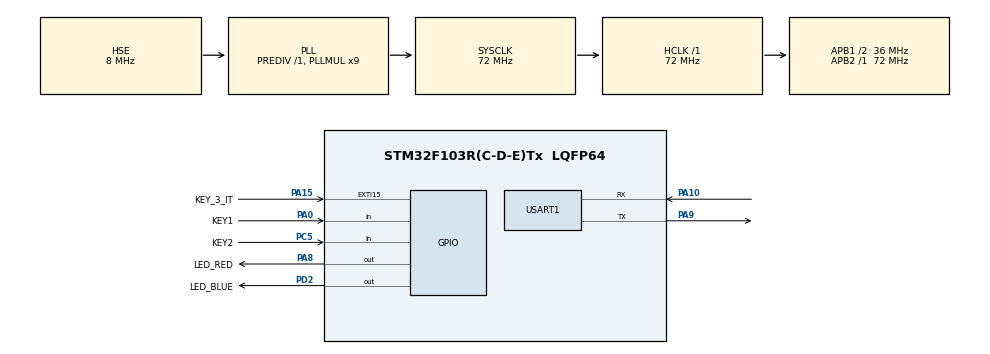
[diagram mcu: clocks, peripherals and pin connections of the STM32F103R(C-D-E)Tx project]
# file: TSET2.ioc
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Mcu.Family=STM32F1
Mcu.Name=STM32F103R(C-D-E)Tx
Mcu.Package=LQFP64
NVIC.EXTI15_10_IRQn=true\:1\:0\:true\:false\:true\:true\:true
NVIC.PriorityGroup=NVIC_PRIORITYGROUP_3
PA0-WKUP.GPIO_Label=KEY1
PA0-WKUP.GPIO_PuPd=GPIO_PULLDOWN
PA0-WKUP.Signal=GPIO_Input
PA10.Mode=Asynchronous
PA10.Signal=USART1_RX
PA13.Mode=Serial_Wire
PA13.Signal=SYS_JTMS-SWDIO
PA14.Mode=Serial_Wire
PA14.Signal=SYS_JTCK-SWCLK
PA15.GPIO_Label=KEY_3_IT
PA15.GPIO_ModeDefaultEXTI=GPIO_MODE_IT_RISING
PA15.GPIO_PuPd=GPIO_PULLUP
PA15.Signal=GPXTI15
PA8.GPIO_Label=LED_RED
PA8.GPIO_PuPd=GPIO_NOPULL
PA8.Signal=GPIO_Output
PA9.Mode=Asynchronous
PA9.Signal=USART1_TX
PC5.GPIO_Label=KEY2
PC5.GPIO_PuPd=GPIO_PULLUP
PC5.Signal=GPIO_Input
PD0-OSC_IN.Mode=HSE-External-Oscillator
PD0-OSC_IN.Signal=RCC_OSC_IN
PD1-OSC_OUT.Mode=HSE-External-Oscillator
PD1-OSC_OUT.Signal=RCC_OSC_OUT
PD2.GPIO_Label=LED_BLUE
PD2.Signal=GPIO_Output
ProjectManager.HeapSize=0x200
ProjectManager.StackSize=0x400
ProjectManager.TargetToolchain=MDK-ARM V5
RCC.AHBFreq_Value=72000000
RCC.APB1CLKDivider=RCC_HCLK_DIV2
RCC.APB1Freq_Value=36000000
RCC.APB1TimFreq_Value=72000000
RCC.APB2Freq_Value=72000000
RCC.APB2TimFreq_Value=72000000
RCC.HCLKFreq_Value=72000000
RCC.PLLMUL=RCC_PLL_MUL9
RCC.PLLSourceVirtual=RCC_PLLSOURCE_HSE
RCC.SYSCLKFreq_VALUE=72000000
RCC.SYSCLKSource=RCC_SYSCLKSOURCE_PLLCLK
RCC.USBFreq_Value=72000000
USART1.VirtualMode=VM_ASYNC
board=custom

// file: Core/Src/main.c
/* USER CODE BEGIN Header */
/**
  ******************************************************************************
  * @file           : main.c
  * @brief          : Main program body
  ******************************************************************************
  * @attention
  *
  * <h2><center>&copy; Copyright (c) 2021 STMicroelectronics.
  * All rights reserved.</center></h2>
  *
  * This software component is licensed by ST under BSD 3-Clause license,
  * the "License"; You may not use this file except in compliance with the
  * License. You may obtain a copy of the License at:
  *                        opensource.org/licenses/BSD-3-Clause
  *
  ******************************************************************************
  */
/* USER CODE END Header */

#include "main.h"

UART_HandleTypeDef huart1;

void SystemClock_Config(void);
static void MX_GPIO_Init(void);
static void MX_USART1_UART_Init(void);

/* USER CODE BEGIN 0 */
//uint16_t mode = 0;
volatile uint16_t speed = 0;
/* USER CODE END 0 */

int main(void)
{
  /* USER CODE BEGIN 1 */
	uint16_t time = 1000;
  /* USER CODE END 1 */

  /* MCU Configuration--------------------------------------------------------*/

  /* Reset of all peripherals, Initializes the Flash interface and the Systick. */
  HAL_Init();

  /* Configure the system clock */
  SystemClock_Config();

  /* Initialize all configured peripherals */
  MX_GPIO_Init();
  MX_USART1_UART_Init();
  /* USER CODE BEGIN 2 */
while (1)
 {
	 if(HAL_GPIO_ReadPin(KEY1_GPIO_Port,KEY1_Pin) == GPIO_PIN_SET)
		{
			HAL_GPIO_TogglePin(LED_RED_GPIO_Port, LED_RED_Pin);
			HAL_Delay(1000);
		}
    if(HAL_GPIO_ReadPin(KEY2_GPIO_Port,KEY2_Pin) == GPIO_PIN_RESET)
		{
			HAL_GPIO_TogglePin(LED_BLUE_GPIO_Port, LED_BLUE_Pin);
			HAL_Delay(1000);
		}

if(speed == 0)
{
		HAL_GPIO_TogglePin(LED_BLUE_GPIO_Port, LED_BLUE_Pin);
		HAL_Delay(1000);
		HAL_GPIO_TogglePin(LED_RED_GPIO_Port, LED_RED_Pin);
		HAL_Delay(1000);
}
else if(speed == 1)
{
		HAL_GPIO_TogglePin(LED_BLUE_GPIO_Port, LED_BLUE_Pin);
		HAL_Delay(200);
		HAL_GPIO_TogglePin(LED_RED_GPIO_Port, LED_RED_Pin);
		HAL_Delay(200);
}
else if(speed == 2)
{
		HAL_GPIO_TogglePin(LED_BLUE_GPIO_Port, LED_BLUE_Pin);
		HAL_Delay(50);
		HAL_GPIO_TogglePin(LED_RED_GPIO_Port, LED_RED_Pin);
		HAL_Delay(50);
}
}
  /* USER CODE END 2 */

  /* Infinite loop */

}
void SystemClock_Config(void)
{
  RCC_OscInitTypeDef RCC_OscInitStruct = {0};
  RCC_ClkInitTypeDef RCC_ClkInitStruct = {0};

  /** Initializes the CPU, AHB and APB busses clocks
  */
  RCC_OscInitStruct.OscillatorType = RCC_OSCILLATORTYPE_HSE;
  RCC_OscInitStruct.HSEState = RCC_HSE_ON;
  RCC_OscInitStruct.HSEPredivValue = RCC_HSE_PREDIV_DIV1;
  RCC_OscInitStruct.HSIState = RCC_HSI_ON;
  RCC_OscInitStruct.PLL.PLLState = RCC_PLL_ON;
  RCC_OscInitStruct.PLL.PLLSource = RCC_PLLSOURCE_HSE;
  RCC_OscInitStruct.PLL.PLLMUL = RCC_PLL_MUL9;
  if (HAL_RCC_OscConfig(&RCC_OscInitStruct) != HAL_OK)
  {
    Error_Handler();
  }
  /** Initializes the CPU, AHB and APB busses clocks
  */
  RCC_ClkInitStruct.ClockType = RCC_CLOCKTYPE_HCLK|RCC_CLOCKTYPE_SYSCLK
                              |RCC_CLOCKTYPE_PCLK1|RCC_CLOCKTYPE_PCLK2;
  RCC_ClkInitStruct.SYSCLKSource = RCC_SYSCLKSOURCE_PLLCLK;
  RCC_ClkInitStruct.AHBCLKDivider = RCC_SYSCLK_DIV1;
  RCC_ClkInitStruct.APB1CLKDivider = RCC_HCLK_DIV2;
  RCC_ClkInitStruct.APB2CLKDivider = RCC_HCLK_DIV1;

  if (HAL_RCC_ClockConfig(&RCC_ClkInitStruct, FLASH_LATENCY_2) != HAL_OK)
  {
    Error_Handler();
  }
}

static void MX_USART1_UART_Init(void)
{

  huart1.Instance = USART1;
  huart1.Init.BaudRate = 115200;
  huart1.Init.WordLength = UART_WORDLENGTH_8B;
  huart1.Init.StopBits = UART_STOPBITS_1;
  huart1.Init.Parity = UART_PARITY_NONE;
  huart1.Init.Mode = UART_MODE_TX_RX;
  huart1.Init.HwFlowCtl = UART_HWCONTROL_NONE;
  huart1.Init.OverSampling = UART_OVERSAMPLING_16;
  if (HAL_UART_Init(&huart1) != HAL_OK)
  {
    Error_Handler();
  }

}

static void MX_GPIO_Init(void)
{
  GPIO_InitTypeDef GPIO_InitStruct = {0};

  /* GPIO Ports Clock Enable */
  __HAL_RCC_GPIOD_CLK_ENABLE();
  __HAL_RCC_GPIOA_CLK_ENABLE();
  __HAL_RCC_GPIOC_CLK_ENABLE();

  /*Configure GPIO pin Output Level */
  HAL_GPIO_WritePin(LED_RED_GPIO_Port, LED_RED_Pin, GPIO_PIN_RESET);

  /*Configure GPIO pin Output Level */
  HAL_GPIO_WritePin(LED_BLUE_GPIO_Port, LED_BLUE_Pin, GPIO_PIN_RESET);

  /*Configure GPIO pin : KEY1_Pin */
  GPIO_InitStruct.Pin = KEY1_Pin;
  GPIO_InitStruct.Mode = GPIO_MODE_INPUT;
  GPIO_InitStruct.Pull = GPIO_PULLDOWN;
  HAL_GPIO_Init(KEY1_GPIO_Port, &GPIO_InitStruct);

  /*Configure GPIO pin : KEY2_Pin */
  GPIO_InitStruct.Pin = KEY2_Pin;
  GPIO_InitStruct.Mode = GPIO_MODE_INPUT;
  GPIO_InitStruct.Pull = GPIO_PULLUP;
  HAL_GPIO_Init(KEY2_GPIO_Port, &GPIO_InitStruct);

  /*Configure GPIO pin : LED_RED_Pin */
  GPIO_InitStruct.Pin = LED_RED_Pin;
  GPIO_InitStruct.Mode = GPIO_MODE_OUTPUT_PP;
  GPIO_InitStruct.Pull = GPIO_NOPULL;
  GPIO_InitStruct.Speed = GPIO_SPEED_FREQ_LOW;
  HAL_GPIO_Init(LED_RED_GPIO_Port, &GPIO_InitStruct);

  /*Configure GPIO pin : KEY_3_IT_Pin */
  GPIO_InitStruct.Pin = KEY_3_IT_Pin;
  GPIO_InitStruct.Mode = GPIO_MODE_IT_RISING;
  GPIO_InitStruct.Pull = GPIO_PULLUP;
  HAL_GPIO_Init(KEY_3_IT_GPIO_Port, &GPIO_InitStruct);

  /*Configure GPIO pin : LED_BLUE_Pin */
  GPIO_InitStruct.Pin = LED_BLUE_Pin;
  GPIO_InitStruct.Mode = GPIO_MODE_OUTPUT_PP;
  GPIO_InitStruct.Pull = GPIO_NOPULL;
  GPIO_InitStruct.Speed = GPIO_SPEED_FREQ_LOW;
  HAL_GPIO_Init(LED_BLUE_GPIO_Port, &GPIO_InitStruct);

  /* EXTI interrupt init*/
  HAL_NVIC_SetPriority(EXTI15_10_IRQn, 1, 0);
  HAL_NVIC_EnableIRQ(EXTI15_10_IRQn);

}

/* USER CODE BEGIN 4 */
void HAL_GPIO_EXTI_Callback(uint16_t GPIO_Pin)
{
				if(GPIO_Pin ==KEY_3_IT_Pin)
				{

					/*while(1)
					{
						HAL_GPIO_TogglePin(LED_BLUE_GPIO_Port, LED_BLUE_Pin);
						HAL_Delay(1000);
						HAL_GPIO_TogglePin(LED_RED_GPIO_Port, LED_RED_Pin);
						HAL_Delay(1000);
				}*/
					speed++;
					if(speed ==3)
						{
						speed =0;
						}
				}
}

/* USER CODE END 4 */

void Error_Handler(void)
{
}

/************************ (C) COPYRIGHT STMicroelectronics *****END OF FILE****/
